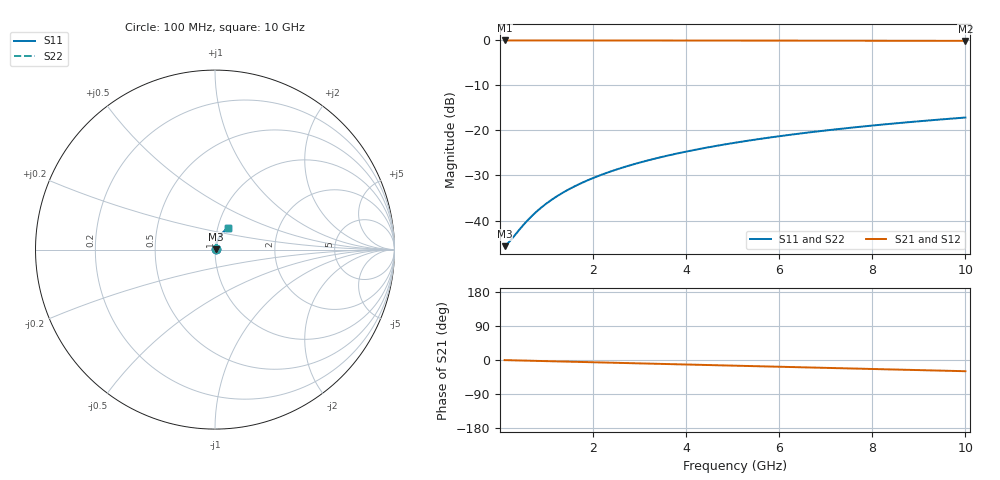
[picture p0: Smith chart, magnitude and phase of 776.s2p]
# Hz S RI R 50.00
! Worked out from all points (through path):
!   100 points, 100 MHz to 10 GHz, reference 50 ohm
!   highest |S21| = -0.04 dB at 100 MHz (marker M1); lowest = -0.1 dB at 10 GHz (marker M2)
!   group delay of S21, straight-line fit = 8.22 ps
!   lowest |S11| = -45.7 dB at 100 MHz (marker M3), VSWR 1.01, Z = 50.5 + j0.145 ohm
!   |S11| at or under -10 dB: start of sweep to end of sweep
!   |S22| runs from -45.7 to -17.1 dB; largest |S21 - S12| = 0
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1e8  0.00499 0.00144  0.995 -0.00516  0.995 -0.00516  0.00499 0.00144
2e8  0.00505 0.00287  0.9949 -0.0103  0.9949 -0.0103  0.00505 0.00287
5e8  0.00526 0.00717  0.9945 -0.0258  0.9945 -0.0258  0.00526 0.00717
6e8  0.00536 0.0086  0.9944 -0.031  0.9944 -0.031  0.00536 0.0086
7e8  0.00547 0.01  0.9942 -0.0361  0.9942 -0.0361  0.00547 0.01
9e8  0.00572 0.0129  0.9937 -0.0464  0.9937 -0.0464  0.00572 0.0129
1.1e9  0.00604 0.0157  0.9931 -0.0567  0.9931 -0.0567  0.00604 0.0157
1.3e9  0.00641 0.0186  0.9924 -0.067  0.9924 -0.067  0.00641 0.0186
1.5e9  0.00684 0.0214  0.9915 -0.0773  0.9915 -0.0773  0.00684 0.0214
1.8e9  0.0076 0.0257  0.9901 -0.0927  0.9901 -0.0927  0.0076 0.0257
2.1e9  0.00848 0.0299  0.9884 -0.1081  0.9884 -0.1081  0.00848 0.0299
2.5e9  0.00986 0.0354  0.9857 -0.1285  0.9857 -0.1285  0.00986 0.0354
2.9e9  0.0115 0.0409  0.9826 -0.1489  0.9826 -0.1489  0.0115 0.0409
3.4e9  0.0138 0.0477  0.978 -0.1742  0.978 -0.1742  0.0138 0.0477
3.8e9  0.0159 0.053  0.9739 -0.1944  0.9739 -0.1944  0.0159 0.053
4.2e9  0.0182 0.0582  0.9693 -0.2144  0.9693 -0.2144  0.0182 0.0582
5.1e9  0.0242 0.0696  0.9574 -0.2591  0.9574 -0.2591  0.0242 0.0696
5.9e9  0.0304 0.0791  0.945 -0.2981  0.945 -0.2981  0.0304 0.0791
6.7e9  0.0374 0.0881  0.9309 -0.3365  0.9309 -0.3365  0.0374 0.0881
7.5e9  0.0451 0.0965  0.9152 -0.3742  0.9152 -0.3742  0.0451 0.0965
8.4e9  0.0545 0.1051  0.8957 -0.4156  0.8957 -0.4156  0.0545 0.1051
1e10  0.073 0.1181  0.8562 -0.4863  0.8562 -0.4863  0.073 0.1181
